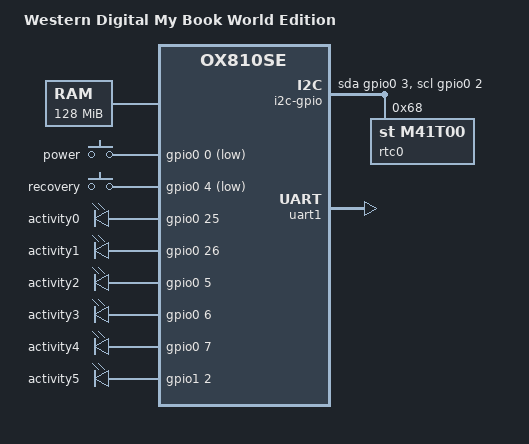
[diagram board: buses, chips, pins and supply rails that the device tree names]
/*
 * wd-mbwe.dtsi - Device tree file for Western Digital My Book World Edition
 *
 * Copyright (C) 2016 Neil Armstrong <narmstrong@baylibre.com>
 *
 * Licensed under GPLv2 or later
 */

/dts-v1/;
#include "ox810se.dtsi"

/ {
	model = "Western Digital My Book World Edition";

	compatible = "wd,mbwe", "oxsemi,ox810se";

	chosen {
		bootargs = "console=ttyS1,115200n8 earlyprintk=serial";
	};

	memory {
		/* 128Mbytes DDR */
		reg = <0x48000000 0x8000000>;
	};

	aliases {
		serial1 = &uart1;
		gpio0 = &gpio0;
		gpio1 = &gpio1;
	};

	gpio-keys-polled {
		compatible = "gpio-keys-polled";
		#address-cells = <1>;
		#size-cells = <0>;
		poll-interval = <100>;

		power {
			label = "power";
			gpios = <&gpio0 0 1>;
			linux,code = <0x198>;
		};

		recovery {
			label = "recovery";
			gpios = <&gpio0 4 1>;
			linux,code = <0xab>;
		};
	};

	leds {
		compatible = "gpio-leds";

		a0 {
			label = "activity0";
			gpios = <&gpio0 25 0>;
			default-state = "keep";
		};

		a1 {
			label = "activity1";
			gpios = <&gpio0 26 0>;
			default-state = "keep";
		};

		a2 {
			label = "activity2";
			gpios = <&gpio0 5 0>;
			default-state = "keep";
		};

		a3 {
			label = "activity3";
			gpios = <&gpio0 6 0>;
			default-state = "keep";
		};

		a4 {
			label = "activity4";
			gpios = <&gpio0 7 0>;
			default-state = "keep";
		};

		a5 {
			label = "activity5";
			gpios = <&gpio1 2 0>;
			default-state = "keep";
		};
	};

	i2c-gpio {
		compatible = "i2c-gpio";
		gpios = <&gpio0 3 0 /* sda */
			 &gpio0 2 0 /* scl */
			 >;
		i2c-gpio,delay-us = <2>;        /* ~100 kHz */
		#address-cells = <1>;
		#size-cells = <0>;

		rtc0: rtc@48 {
			compatible = "st,m41t00";
			reg = <0x68>;
		};
	};
};

&uart1 {
	status = "okay";

	pinctrl-names = "default";
	pinctrl-0 = <&pinctrl_uart1>;
};
